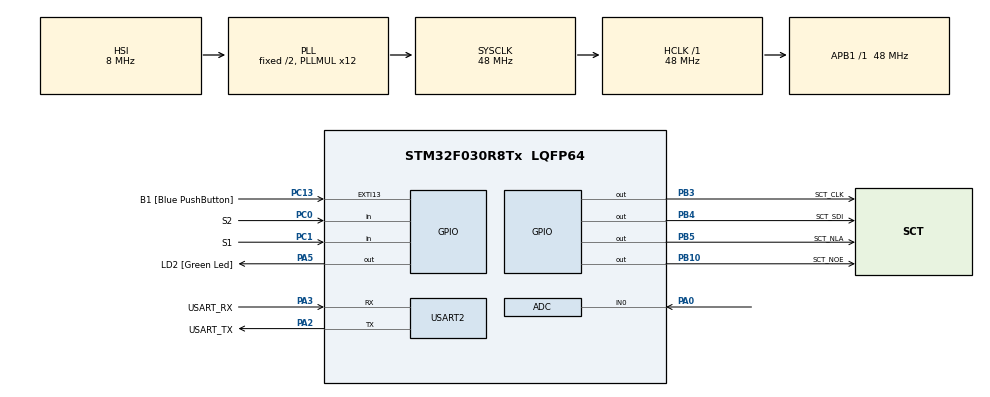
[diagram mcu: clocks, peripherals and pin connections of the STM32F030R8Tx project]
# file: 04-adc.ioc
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ADC.ContinuousConvMode=ENABLE
ADC.Overrun=ADC_OVR_DATA_OVERWRITTEN
ADC.SamplingTime=ADC_SAMPLETIME_239CYCLES_5
Mcu.Family=STM32F0
Mcu.Name=STM32F030R8Tx
Mcu.Package=LQFP64
NVIC.ADC1_IRQn=true\:0\:0\:false\:false\:true\:true\:true\:true
PA0.Mode=IN0
PA0.Signal=ADC_IN0
PA13.GPIO_Label=TMS
PA13.Mode=Serial_Wire
PA13.Signal=SYS_SWDIO
PA14.GPIO_Label=TCK
PA14.Mode=Serial_Wire
PA14.Signal=SYS_SWCLK
PA2.GPIO_Label=USART_TX
PA2.GPIO_Mode=GPIO_MODE_AF_PP
PA2.GPIO_PuPd=GPIO_NOPULL
PA2.GPIO_Speed=GPIO_SPEED_FREQ_LOW
PA2.Mode=Asynchronous
PA2.Signal=USART2_TX
PA3.GPIO_Label=USART_RX
PA3.GPIO_Mode=GPIO_MODE_AF_PP
PA3.GPIO_PuPd=GPIO_NOPULL
PA3.GPIO_Speed=GPIO_SPEED_FREQ_LOW
PA3.Mode=Asynchronous
PA3.Signal=USART2_RX
PA5.GPIO_Label=LD2 [Green Led]
PA5.GPIO_Mode=GPIO_MODE_OUTPUT_PP
PA5.GPIO_PuPd=GPIO_NOPULL
PA5.GPIO_Speed=GPIO_SPEED_FREQ_LOW
PA5.Signal=GPIO_Output
PB10.GPIO_Label=SCT_NOE
PB10.Signal=GPIO_Output
PB3.GPIO_Label=SCT_CLK
PB3.Signal=GPIO_Output
PB4.GPIO_Label=SCT_SDI
PB4.Signal=GPIO_Output
PB5.GPIO_Label=SCT_NLA
PB5.Signal=GPIO_Output
PC0.GPIO_Label=S2
PC0.GPIO_PuPd=GPIO_PULLUP
PC0.Signal=GPIO_Input
PC1.GPIO_Label=S1
PC1.GPIO_PuPd=GPIO_PULLUP
PC1.Signal=GPIO_Input
PC13.GPIO_Label=B1 [Blue PushButton]
PC13.GPIO_ModeDefaultEXTI=GPIO_MODE_IT_FALLING
PC13.Signal=GPXTI13
PC14-OSC32_IN.Mode=LSE-External-Oscillator
PC14-OSC32_IN.Signal=RCC_OSC32_IN
PC15-OSC32_OUT.Mode=LSE-External-Oscillator
PC15-OSC32_OUT.Signal=RCC_OSC32_OUT
PF0-OSC_IN.Mode=HSE-External-Clock-Source
PF0-OSC_IN.Signal=RCC_OSC_IN
PF1-OSC_OUT.Signal=RCC_OSC_OUT
ProjectManager.HeapSize=0x200
ProjectManager.StackSize=0x400
ProjectManager.TargetToolchain=STM32CubeIDE
RCC.AHBFreq_Value=48000000
RCC.APB1Freq_Value=48000000
RCC.APB1TimFreq_Value=48000000
RCC.HCLKFreq_Value=48000000
RCC.PLLMUL=RCC_PLL_MUL12
RCC.SYSCLKFreq_VALUE=48000000
RCC.SYSCLKSource=RCC_SYSCLKSOURCE_PLLCLK
USART2.VirtualMode-Asynchronous=VM_ASYNC
VP_ADC_TempSens_Input.Mode=IN-TempSens
VP_ADC_Vref_Input.Mode=IN-Vrefint
board=NUCLEO-F030R8

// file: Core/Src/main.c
/* USER CODE BEGIN Header */
/**
  ******************************************************************************
  * @file           : main.c
  * @brief          : Main program body
  ******************************************************************************
  * @attention
  *
  * Copyright (c) 2024 STMicroelectronics.
  * All rights reserved.
  *
  * This software is licensed under terms that can be found in the LICENSE file
  * in the root directory of this software component.
  * If no LICENSE file comes with this software, it is provided AS-IS.
  *
  ******************************************************************************
  */
/* USER CODE END Header */
#include "main.h"

/* USER CODE BEGIN PD */
#define ADC_Q 12

/* Temperature sensor calibration value address */
#define TEMP110_CAL_ADDR ((uint16_t*) ((uint32_t) 0x1FFFF7C2))
#define TEMP30_CAL_ADDR ((uint16_t*) ((uint32_t) 0x1FFFF7B8))
/* Internal voltage reference calibration value address */
#define VREFINT_CAL_ADDR ((uint16_t*) ((uint32_t) 0x1FFFF7BA))

/* USER CODE END PD */

ADC_HandleTypeDef hadc;

UART_HandleTypeDef huart2;

void SystemClock_Config(void);
static void MX_GPIO_Init(void);
static void MX_USART2_UART_Init(void);
static void MX_ADC_Init(void);

/* USER CODE BEGIN 0 */
static enum { SHOW_POT, SHOW_VOLT, SHOW_TEMP } state = SHOW_POT;
static volatile uint32_t raw_pot;
static volatile uint32_t avg_pot;
static volatile uint32_t raw_temp;
static volatile uint32_t raw_volt;

void HAL_ADC_ConvCpltCallback(ADC_HandleTypeDef* hadc)
{
	static uint8_t channel;

	switch (channel) {
	case 0: // pot
		raw_pot = avg_pot >> ADC_Q;
		avg_pot -= raw_pot;
		avg_pot += HAL_ADC_GetValue(hadc);
		break;
	case 1:	// temp
		raw_temp = HAL_ADC_GetValue(hadc);
		break;
	case 2:	// volt
		raw_volt = HAL_ADC_GetValue(hadc);
		break;
	default:
		break;
	}
	if (__HAL_ADC_GET_FLAG(hadc, ADC_FLAG_EOS)) channel = 0;
	else channel++;

}

void button() {
	static uint32_t offtime;

	if (HAL_GPIO_ReadPin(S2_GPIO_Port, S2_Pin) == GPIO_PIN_RESET) {
		offtime = HAL_GetTick() + 1000;
		state = SHOW_VOLT;
	}
	if (HAL_GPIO_ReadPin(S1_GPIO_Port, S1_Pin) == GPIO_PIN_RESET) {
		offtime = HAL_GetTick() + 1000;
		state = SHOW_TEMP;
	}
	if (HAL_GetTick() >= offtime) {
		state = SHOW_POT;
	}
}
/* USER CODE END 0 */

int main(void)
{

  /* MCU Configuration--------------------------------------------------------*/

  /* Reset of all peripherals, Initializes the Flash interface and the Systick. */
  HAL_Init();

  /* Configure the system clock */
  SystemClock_Config();

  /* Initialize all configured peripherals */
  MX_GPIO_Init();
  MX_USART2_UART_Init();
  MX_ADC_Init();
  /* USER CODE BEGIN 2 */
  sct_init();
  HAL_ADCEx_Calibration_Start(&hadc);
  HAL_ADC_Start_IT(&hadc);
  /* USER CODE END 2 */

  /* Infinite loop */
  /* USER CODE BEGIN WHILE */
  while (1)
  {
	  uint32_t pot = raw_pot*500.5/4095;

	  uint32_t voltage = 330 * (*VREFINT_CAL_ADDR) / raw_volt;

	  int32_t temperature = (raw_temp - (int32_t)(*TEMP30_CAL_ADDR));
	  temperature = temperature * (int32_t)(110 - 30);
	  temperature = temperature / (int32_t)(*TEMP110_CAL_ADDR - *TEMP30_CAL_ADDR);
	  temperature = temperature + 30;

	  switch (state) {
	  case SHOW_POT:
		  sct_value(pot, pot*9/500.5);
		  break;
	  case SHOW_VOLT:
		  sct_value(voltage, 0);
		  break;
	  case SHOW_TEMP:
		  sct_value(abs(temperature), 0);
		  break;
	  }
	  button();
	  HAL_Delay(50);
    /* USER CODE END WHILE */

  }
}

void SystemClock_Config(void)
{
  RCC_OscInitTypeDef RCC_OscInitStruct = {0};
  RCC_ClkInitTypeDef RCC_ClkInitStruct = {0};

  /** Initializes the RCC Oscillators according to the specified parameters
  * in the RCC_OscInitTypeDef structure.
  */
  RCC_OscInitStruct.OscillatorType = RCC_OSCILLATORTYPE_HSI|RCC_OSCILLATORTYPE_HSI14;
  RCC_OscInitStruct.HSIState = RCC_HSI_ON;
  RCC_OscInitStruct.HSI14State = RCC_HSI14_ON;
  RCC_OscInitStruct.HSICalibrationValue = RCC_HSICALIBRATION_DEFAULT;
  RCC_OscInitStruct.HSI14CalibrationValue = 16;
  RCC_OscInitStruct.PLL.PLLState = RCC_PLL_ON;
  RCC_OscInitStruct.PLL.PLLSource = RCC_PLLSOURCE_HSI;
  RCC_OscInitStruct.PLL.PLLMUL = RCC_PLL_MUL12;
  RCC_OscInitStruct.PLL.PREDIV = RCC_PREDIV_DIV1;
  if (HAL_RCC_OscConfig(&RCC_OscInitStruct) != HAL_OK)
  {
    Error_Handler();
  }

  /** Initializes the CPU, AHB and APB buses clocks
  */
  RCC_ClkInitStruct.ClockType = RCC_CLOCKTYPE_HCLK|RCC_CLOCKTYPE_SYSCLK
                              |RCC_CLOCKTYPE_PCLK1;
  RCC_ClkInitStruct.SYSCLKSource = RCC_SYSCLKSOURCE_PLLCLK;
  RCC_ClkInitStruct.AHBCLKDivider = RCC_SYSCLK_DIV1;
  RCC_ClkInitStruct.APB1CLKDivider = RCC_HCLK_DIV1;

  if (HAL_RCC_ClockConfig(&RCC_ClkInitStruct, FLASH_LATENCY_1) != HAL_OK)
  {
    Error_Handler();
  }
}

static void MX_ADC_Init(void)
{

  ADC_ChannelConfTypeDef sConfig = {0};

  /** Configure the global features of the ADC (Clock, Resolution, Data Alignment and number of conversion)
  */
  hadc.Instance = ADC1;
  hadc.Init.ClockPrescaler = ADC_CLOCK_ASYNC_DIV1;
  hadc.Init.Resolution = ADC_RESOLUTION_12B;
  hadc.Init.DataAlign = ADC_DATAALIGN_RIGHT;
  hadc.Init.ScanConvMode = ADC_SCAN_DIRECTION_FORWARD;
  hadc.Init.EOCSelection = ADC_EOC_SINGLE_CONV;
  hadc.Init.LowPowerAutoWait = DISABLE;
  hadc.Init.LowPowerAutoPowerOff = DISABLE;
  hadc.Init.ContinuousConvMode = ENABLE;
  hadc.Init.DiscontinuousConvMode = DISABLE;
  hadc.Init.ExternalTrigConv = ADC_SOFTWARE_START;
  hadc.Init.ExternalTrigConvEdge = ADC_EXTERNALTRIGCONVEDGE_NONE;
  hadc.Init.DMAContinuousRequests = DISABLE;
  hadc.Init.Overrun = ADC_OVR_DATA_OVERWRITTEN;
  if (HAL_ADC_Init(&hadc) != HAL_OK)
  {
    Error_Handler();
  }

  /** Configure for the selected ADC regular channel to be converted.
  */
  sConfig.Channel = ADC_CHANNEL_0;
  sConfig.Rank = ADC_RANK_CHANNEL_NUMBER;
  sConfig.SamplingTime = ADC_SAMPLETIME_239CYCLES_5;
  if (HAL_ADC_ConfigChannel(&hadc, &sConfig) != HAL_OK)
  {
    Error_Handler();
  }

  /** Configure for the selected ADC regular channel to be converted.
  */
  sConfig.Channel = ADC_CHANNEL_TEMPSENSOR;
  if (HAL_ADC_ConfigChannel(&hadc, &sConfig) != HAL_OK)
  {
    Error_Handler();
  }

  /** Configure for the selected ADC regular channel to be converted.
  */
  sConfig.Channel = ADC_CHANNEL_VREFINT;
  if (HAL_ADC_ConfigChannel(&hadc, &sConfig) != HAL_OK)
  {
    Error_Handler();
  }

}

static void MX_USART2_UART_Init(void)
{

  huart2.Instance = USART2;
  huart2.Init.BaudRate = 38400;
  huart2.Init.WordLength = UART_WORDLENGTH_8B;
  huart2.Init.StopBits = UART_STOPBITS_1;
  huart2.Init.Parity = UART_PARITY_NONE;
  huart2.Init.Mode = UART_MODE_TX_RX;
  huart2.Init.HwFlowCtl = UART_HWCONTROL_NONE;
  huart2.Init.OverSampling = UART_OVERSAMPLING_16;
  huart2.Init.OneBitSampling = UART_ONE_BIT_SAMPLE_DISABLE;
  huart2.AdvancedInit.AdvFeatureInit = UART_ADVFEATURE_NO_INIT;
  if (HAL_UART_Init(&huart2) != HAL_OK)
  {
    Error_Handler();
  }

}

static void MX_GPIO_Init(void)
{
  GPIO_InitTypeDef GPIO_InitStruct = {0};

  /* GPIO Ports Clock Enable */
  __HAL_RCC_GPIOC_CLK_ENABLE();
  __HAL_RCC_GPIOF_CLK_ENABLE();
  __HAL_RCC_GPIOA_CLK_ENABLE();
  __HAL_RCC_GPIOB_CLK_ENABLE();

  /*Configure GPIO pin Output Level */
  HAL_GPIO_WritePin(LD2_GPIO_Port, LD2_Pin, GPIO_PIN_RESET);

  /*Configure GPIO pin Output Level */
  HAL_GPIO_WritePin(GPIOB, SCT_NOE_Pin|SCT_CLK_Pin|SCT_SDI_Pin|SCT_NLA_Pin, GPIO_PIN_RESET);

  /*Configure GPIO pin : B1_Pin */
  GPIO_InitStruct.Pin = B1_Pin;
  GPIO_InitStruct.Mode = GPIO_MODE_IT_FALLING;
  GPIO_InitStruct.Pull = GPIO_NOPULL;
  HAL_GPIO_Init(B1_GPIO_Port, &GPIO_InitStruct);

  /*Configure GPIO pins : S2_Pin S1_Pin */
  GPIO_InitStruct.Pin = S2_Pin|S1_Pin;
  GPIO_InitStruct.Mode = GPIO_MODE_INPUT;
  GPIO_InitStruct.Pull = GPIO_PULLUP;
  HAL_GPIO_Init(GPIOC, &GPIO_InitStruct);

  /*Configure GPIO pin : LD2_Pin */
  GPIO_InitStruct.Pin = LD2_Pin;
  GPIO_InitStruct.Mode = GPIO_MODE_OUTPUT_PP;
  GPIO_InitStruct.Pull = GPIO_NOPULL;
  GPIO_InitStruct.Speed = GPIO_SPEED_FREQ_LOW;
  HAL_GPIO_Init(LD2_GPIO_Port, &GPIO_InitStruct);

  /*Configure GPIO pins : SCT_NOE_Pin SCT_CLK_Pin SCT_SDI_Pin SCT_NLA_Pin */
  GPIO_InitStruct.Pin = SCT_NOE_Pin|SCT_CLK_Pin|SCT_SDI_Pin|SCT_NLA_Pin;
  GPIO_InitStruct.Mode = GPIO_MODE_OUTPUT_PP;
  GPIO_InitStruct.Pull = GPIO_NOPULL;
  GPIO_InitStruct.Speed = GPIO_SPEED_FREQ_LOW;
  HAL_GPIO_Init(GPIOB, &GPIO_InitStruct);

}

void Error_Handler(void)
{
  __disable_irq();
  while (1)
  {
  }
}
